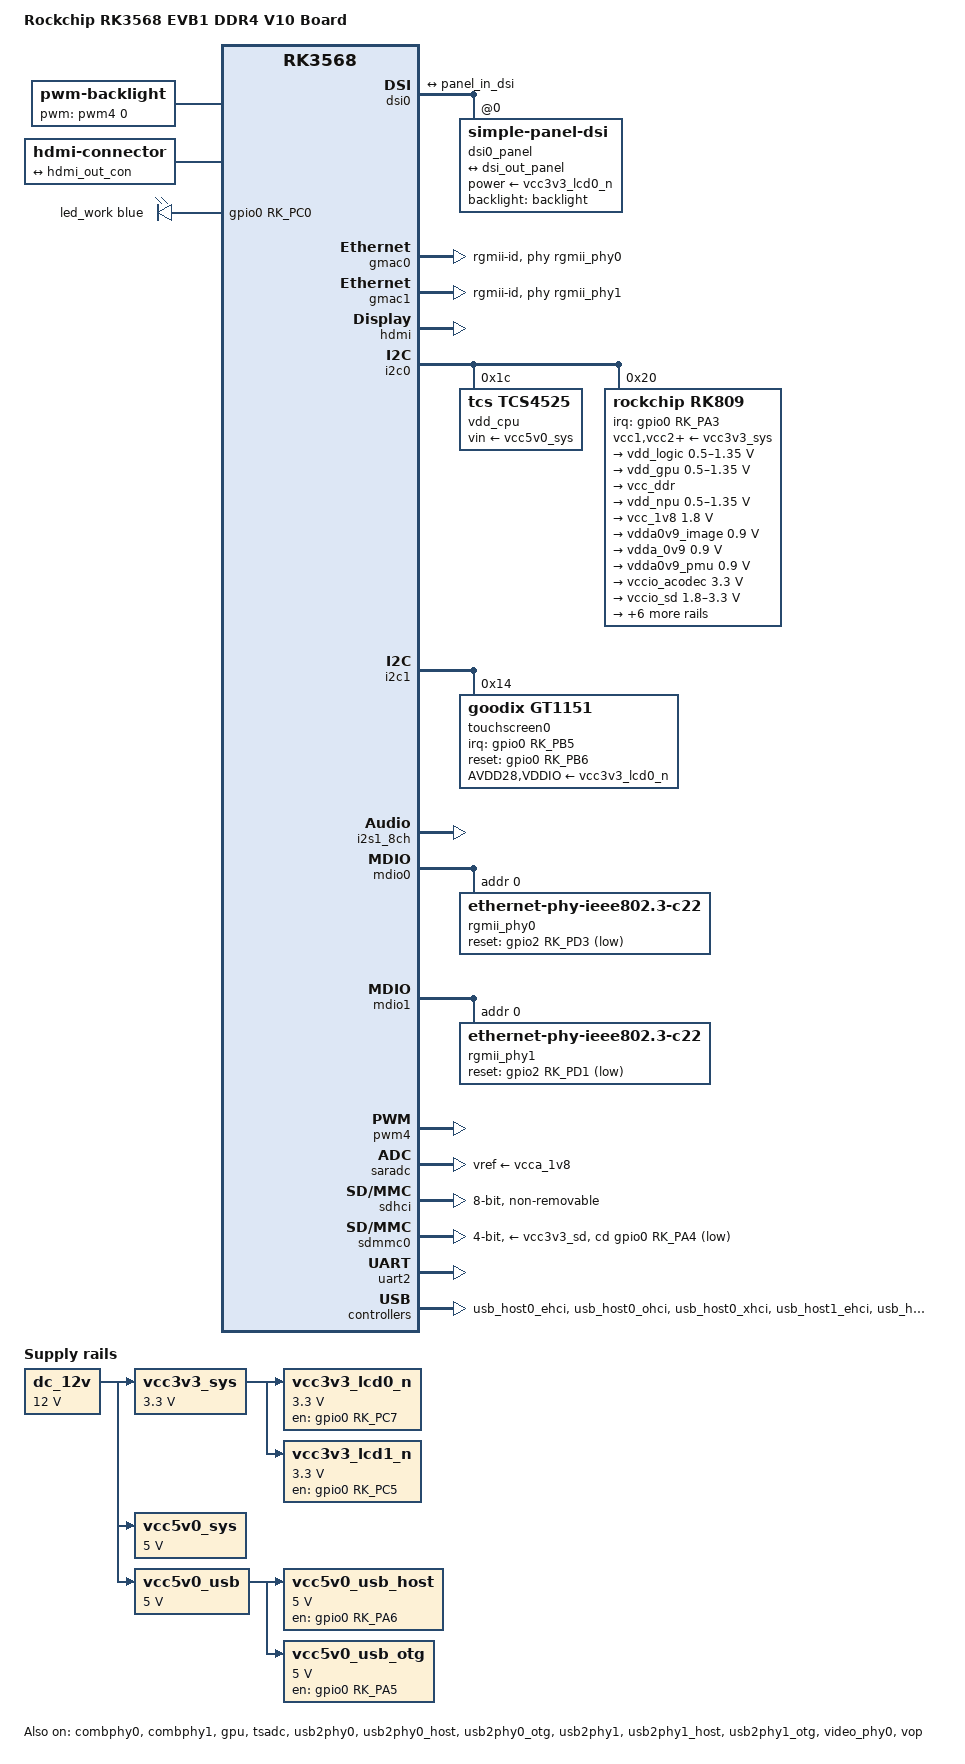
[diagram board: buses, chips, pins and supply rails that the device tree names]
// SPDX-License-Identifier: (GPL-2.0+ OR MIT)
/*
 * Copyright (c) 2021 Rockchip Electronics Co., Ltd.
 *
 */

/dts-v1/;
#include <dt-bindings/gpio/gpio.h>
#include <dt-bindings/leds/common.h>
#include <dt-bindings/pinctrl/rockchip.h>
#include <dt-bindings/soc/rockchip,vop2.h>
#include "rk3568.dtsi"

/ {
	model = "Rockchip RK3568 EVB1 DDR4 V10 Board";
	compatible = "rockchip,rk3568-evb1-v10", "rockchip,rk3568";

	aliases {
		ethernet0 = &gmac0;
		ethernet1 = &gmac1;
		mmc0 = &sdmmc0;
		mmc1 = &sdhci;
	};

	chosen: chosen {
		stdout-path = "serial2:1500000n8";
	};

	backlight: backlight {
		compatible = "pwm-backlight";
		pwms = <&pwm4 0 25000 0>;
		brightness-levels = <
			  0  20  20  21  21  22  22  23
			 23  24  24  25  25  26  26  27
			 27  28  28  29  29  30  30  31
			 31  32  32  33  33  34  34  35
			 35  36  36  37  37  38  38  39
			 40  41  42  43  44  45  46  47
			 48  49  50  51  52  53  54  55
			 56  57  58  59  60  61  62  63
			 64  65  66  67  68  69  70  71
			 72  73  74  75  76  77  78  79
			 80  81  82  83  84  85  86  87
			 88  89  90  91  92  93  94  95
			 96  97  98  99 100 101 102 103
			104 105 106 107 108 109 110 111
			112 113 114 115 116 117 118 119
			120 121 122 123 124 125 126 127
			128 129 130 131 132 133 134 135
			136 137 138 139 140 141 142 143
			144 145 146 147 148 149 150 151
			152 153 154 155 156 157 158 159
			160 161 162 163 164 165 166 167
			168 169 170 171 172 173 174 175
			176 177 178 179 180 181 182 183
			184 185 186 187 188 189 190 191
			192 193 194 195 196 197 198 199
			200 201 202 203 204 205 206 207
			208 209 210 211 212 213 214 215
			216 217 218 219 220 221 222 223
			224 225 226 227 228 229 230 231
			232 233 234 235 236 237 238 239
			240 241 242 243 244 245 246 247
			248 249 250 251 252 253 254 255
		>;
		default-brightness-level = <200>;
	};

	dc_12v: dc-12v {
		compatible = "regulator-fixed";
		regulator-name = "dc_12v";
		regulator-always-on;
		regulator-boot-on;
		regulator-min-microvolt = <12000000>;
		regulator-max-microvolt = <12000000>;
	};

	hdmi-con {
		compatible = "hdmi-connector";
		type = "a";

		port {
			hdmi_con_in: endpoint {
				remote-endpoint = <&hdmi_out_con>;
			};
		};
	};

	leds {
		compatible = "gpio-leds";

		led_work: led-0 {
			gpios = <&gpio0 RK_PC0 GPIO_ACTIVE_HIGH>;
			function = LED_FUNCTION_HEARTBEAT;
			color = <LED_COLOR_ID_BLUE>;
			linux,default-trigger = "heartbeat";
			pinctrl-names = "default";
			pinctrl-0 = <&led_work_en>;
		};
	};

	rk809-sound {
		compatible = "simple-audio-card";
		simple-audio-card,format = "i2s";
		simple-audio-card,name = "Analog RK809";
		simple-audio-card,mclk-fs = <256>;

		simple-audio-card,cpu {
			sound-dai = <&i2s1_8ch>;
		};
		simple-audio-card,codec {
			sound-dai = <&rk809>;
		};
	};

	vcc3v3_sys: vcc3v3-sys {
		compatible = "regulator-fixed";
		regulator-name = "vcc3v3_sys";
		regulator-always-on;
		regulator-boot-on;
		regulator-min-microvolt = <3300000>;
		regulator-max-microvolt = <3300000>;
		vin-supply = <&dc_12v>;
	};

	vcc5v0_sys: vcc5v0-sys {
		compatible = "regulator-fixed";
		regulator-name = "vcc5v0_sys";
		regulator-always-on;
		regulator-boot-on;
		regulator-min-microvolt = <5000000>;
		regulator-max-microvolt = <5000000>;
		vin-supply = <&dc_12v>;
	};

	vcc5v0_usb: vcc5v0-usb {
		compatible = "regulator-fixed";
		regulator-name = "vcc5v0_usb";
		regulator-always-on;
		regulator-boot-on;
		regulator-min-microvolt = <5000000>;
		regulator-max-microvolt = <5000000>;
		vin-supply = <&dc_12v>;
	};

	vcc5v0_usb_host: vcc5v0-usb-host {
		compatible = "regulator-fixed";
		enable-active-high;
		gpio = <&gpio0 RK_PA6 GPIO_ACTIVE_HIGH>;
		pinctrl-names = "default";
		pinctrl-0 = <&vcc5v0_usb_host_en>;
		regulator-name = "vcc5v0_usb_host";
		regulator-min-microvolt = <5000000>;
		regulator-max-microvolt = <5000000>;
		vin-supply = <&vcc5v0_usb>;
	};

	vcc5v0_usb_otg: vcc5v0-usb-otg {
		compatible = "regulator-fixed";
		enable-active-high;
		gpio = <&gpio0 RK_PA5 GPIO_ACTIVE_HIGH>;
		pinctrl-names = "default";
		pinctrl-0 = <&vcc5v0_usb_otg_en>;
		regulator-name = "vcc5v0_usb_otg";
		regulator-min-microvolt = <5000000>;
		regulator-max-microvolt = <5000000>;
		vin-supply = <&vcc5v0_usb>;
	};

	vcc3v3_lcd0_n: vcc3v3-lcd0-n {
		compatible = "regulator-fixed";
		regulator-name = "vcc3v3_lcd0_n";
		regulator-min-microvolt = <3300000>;
		regulator-max-microvolt = <3300000>;
		enable-active-high;
		gpio = <&gpio0 RK_PC7 GPIO_ACTIVE_HIGH>;
		vin-supply = <&vcc3v3_sys>;
		pinctrl-names = "default";
		pinctrl-0 = <&vcc3v3_lcd0_n_pinctrl>;

		regulator-state-mem {
			regulator-off-in-suspend;
		};
	};

	vcc3v3_lcd1_n: vcc3v3-lcd1-n {
		compatible = "regulator-fixed";
		regulator-name = "vcc3v3_lcd1_n";
		regulator-min-microvolt = <3300000>;
		regulator-max-microvolt = <3300000>;
		enable-active-high;
		gpio = <&gpio0 RK_PC5 GPIO_ACTIVE_HIGH>;
		vin-supply = <&vcc3v3_sys>;
		pinctrl-names = "default";
		pinctrl-0 = <&vcc3v3_lcd1_n_pinctrl>;

		regulator-state-mem {
			regulator-off-in-suspend;
		};
	};
};

&combphy0 {
	status = "okay";
};

&combphy1 {
	status = "okay";
};

&cpu0 {
	cpu-supply = <&vdd_cpu>;
};

&cpu1 {
	cpu-supply = <&vdd_cpu>;
};

&cpu2 {
	cpu-supply = <&vdd_cpu>;
};

&cpu3 {
	cpu-supply = <&vdd_cpu>;
};

&dsi0 {
	status = "okay";

	dsi0_panel: panel@0 {
		status = "okay";
		compatible = "simple-panel-dsi";
		reg = <0>;
		power-supply = <&vcc3v3_lcd0_n>;
		backlight = <&backlight>;
		reset-delay-ms = <60>;
		enable-delay-ms = <60>;
		prepare-delay-ms = <60>;
		unprepare-delay-ms = <60>;
		disable-delay-ms = <60>;
/*		dsi,flags = <(MIPI_DSI_MODE_VIDEO | MIPI_DSI_MODE_VIDEO_BURST |
			MIPI_DSI_MODE_LPM | MIPI_DSI_MODE_EOT_PACKET)>;
		dsi,format = <MIPI_DSI_FMT_RGB888>;
		dsi,lanes  = <4>;
		panel-init-sequence = [
			23 00 02 FE 21 23 00 02 04 00 23 00 02 00 64 23 00 02 2A 00
			23 00 02 26 64 23 00 02 54 00 23 00 02 50 64 23 00 02 7B 00
			23 00 02 77 64 23 00 02 A2 00 23 00 02 9D 64 23 00 02 C9 00
			23 00 02 C5 64 23 00 02 01 71 23 00 02 27 71 23 00 02 51 71
			23 00 02 78 71 23 00 02 9E 71 23 00 02 C6 71 23 00 02 02 89
			23 00 02 28 89 23 00 02 52 89 23 00 02 79 89 23 00 02 9F 89
			23 00 02 C7 89 23 00 02 03 9E 23 00 02 29 9E 23 00 02 53 9E
			23 00 02 7A 9E 23 00 02 A0 9E 23 00 02 C8 9E 23 00 02 09 00
			23 00 02 05 B0 23 00 02 31 00 23 00 02 2B B0 23 00 02 5A 00
			23 00 02 55 B0 23 00 02 80 00 23 00 02 7C B0 23 00 02 A7 00
			23 00 02 A3 B0 23 00 02 CE 00 23 00 02 CA B0 23 00 02 06 C0
			23 00 02 2D C0 23 00 02 56 C0 23 00 02 7D C0 23 00 02 A4 C0
			23 00 02 CB C0 23 00 02 07 CF 23 00 02 2F CF 23 00 02 58 CF
			23 00 02 7E CF 23 00 02 A5 CF 23 00 02 CC CF 23 00 02 08 DD
			23 00 02 30 DD 23 00 02 59 DD 23 00 02 7F DD 23 00 02 A6 DD
			23 00 02 CD DD 23 00 02 0E 15 23 00 02 0A E9 23 00 02 36 15
			23 00 02 32 E9 23 00 02 5F 15 23 00 02 5B E9 23 00 02 85 15
			23 00 02 81 E9 23 00 02 AD 15 23 00 02 A9 E9 23 00 02 D3 15
			23 00 02 CF E9 23 00 02 0B 14 23 00 02 33 14 23 00 02 5C 14
			23 00 02 82 14 23 00 02 AA 14 23 00 02 D0 14 23 00 02 0C 36
			23 00 02 34 36 23 00 02 5D 36 23 00 02 83 36 23 00 02 AB 36
			23 00 02 D1 36 23 00 02 0D 6B 23 00 02 35 6B 23 00 02 5E 6B
			23 00 02 84 6B 23 00 02 AC 6B 23 00 02 D2 6B 23 00 02 13 5A
			23 00 02 0F 94 23 00 02 3B 5A 23 00 02 37 94 23 00 02 64 5A
			23 00 02 60 94 23 00 02 8A 5A 23 00 02 86 94 23 00 02 B2 5A
			23 00 02 AE 94 23 00 02 D8 5A 23 00 02 D4 94 23 00 02 10 D1
			23 00 02 38 D1 23 00 02 61 D1 23 00 02 87 D1 23 00 02 AF D1
			23 00 02 D5 D1 23 00 02 11 04 23 00 02 39 04 23 00 02 62 04
			23 00 02 88 04 23 00 02 B0 04 23 00 02 D6 04 23 00 02 12 05
			23 00 02 3A 05 23 00 02 63 05 23 00 02 89 05 23 00 02 B1 05
			23 00 02 D7 05 23 00 02 18 AA 23 00 02 14 36 23 00 02 42 AA
			23 00 02 3D 36 23 00 02 69 AA 23 00 02 65 36 23 00 02 8F AA
			23 00 02 8B 36 23 00 02 B7 AA 23 00 02 B3 36 23 00 02 DD AA
			23 00 02 D9 36 23 00 02 15 74 23 00 02 3F 74 23 00 02 66 74
			23 00 02 8C 74 23 00 02 B4 74 23 00 02 DA 74 23 00 02 16 9F
			23 00 02 40 9F 23 00 02 67 9F 23 00 02 8D 9F 23 00 02 B5 9F
			23 00 02 DB 9F 23 00 02 17 DC 23 00 02 41 DC 23 00 02 68 DC
			23 00 02 8E DC 23 00 02 B6 DC 23 00 02 DC DC 23 00 02 1D FF
			23 00 02 19 03 23 00 02 47 FF 23 00 02 43 03 23 00 02 6E FF
			23 00 02 6A 03 23 00 02 94 FF 23 00 02 90 03 23 00 02 BC FF
			23 00 02 B8 03 23 00 02 E2 FF 23 00 02 DE 03 23 00 02 1A 35
			23 00 02 44 35 23 00 02 6B 35 23 00 02 91 35 23 00 02 B9 35
			23 00 02 DF 35 23 00 02 1B 45 23 00 02 45 45 23 00 02 6C 45
			23 00 02 92 45 23 00 02 BA 45 23 00 02 E0 45 23 00 02 1C 55
			23 00 02 46 55 23 00 02 6D 55 23 00 02 93 55 23 00 02 BB 55
			23 00 02 E1 55 23 00 02 22 FF 23 00 02 1E 68 23 00 02 4C FF
			23 00 02 48 68 23 00 02 73 FF 23 00 02 6F 68 23 00 02 99 FF
			23 00 02 95 68 23 00 02 C1 FF 23 00 02 BD 68 23 00 02 E7 FF
			23 00 02 E3 68 23 00 02 1F 7E 23 00 02 49 7E 23 00 02 70 7E
			23 00 02 96 7E 23 00 02 BE 7E 23 00 02 E4 7E 23 00 02 20 97
			23 00 02 4A 97 23 00 02 71 97 23 00 02 97 97 23 00 02 BF 97
			23 00 02 E5 97 23 00 02 21 B5 23 00 02 4B B5 23 00 02 72 B5
			23 00 02 98 B5 23 00 02 C0 B5 23 00 02 E6 B5 23 00 02 25 F0
			23 00 02 23 E8 23 00 02 4F F0 23 00 02 4D E8 23 00 02 76 F0
			23 00 02 74 E8 23 00 02 9C F0 23 00 02 9A E8 23 00 02 C4 F0
			23 00 02 C2 E8 23 00 02 EA F0 23 00 02 E8 E8 23 00 02 24 FF
			23 00 02 4E FF 23 00 02 75 FF 23 00 02 9B FF 23 00 02 C3 FF
			23 00 02 E9 FF 23 00 02 FE 3D 23 00 02 00 04 23 00 02 FE 23
			23 00 02 08 82 23 00 02 0A 00 23 00 02 0B 00 23 00 02 0C 01
			23 00 02 16 00 23 00 02 18 02 23 00 02 1B 04 23 00 02 19 04
			23 00 02 1C 81 23 00 02 1F 00 23 00 02 20 03 23 00 02 23 04
			23 00 02 21 01 23 00 02 54 63 23 00 02 55 54 23 00 02 6E 45
			23 00 02 6D 36 23 00 02 FE 3D 23 00 02 55 78 23 00 02 FE 20
			23 00 02 26 30 23 00 02 FE 3D 23 00 02 20 71 23 00 02 50 8F
			23 00 02 51 8F 23 00 02 FE 00 23 00 02 35 00 05 78 01 11
			05 1E 01 29
		];

		panel-exit-sequence = [
			05 00 01 28
			05 00 01 10
		];

		disp_timings0: display-timings {
			native-mode = <&dsi0_timing0>;
			dsi0_timing0: timing0 {
				clock-frequency = <132000000>;
				hactive = <1080>;
				vactive = <1920>;
				hfront-porch = <15>;
				hsync-len = <2>;
				hback-porch = <30>;
				vfront-porch = <15>;
				vsync-len = <2>;
				vback-porch = <15>;
				hsync-active = <0>;
				vsync-active = <0>;
				de-active = <0>;
				pixelclk-active = <1>;
			};
		};*/

		ports {
			#address-cells = <1>;
			#size-cells = <0>;

			port@0 {
				reg = <0>;
				panel_in_dsi: endpoint {
					remote-endpoint = <&dsi_out_panel>;
				};
			};
		};
	};

	ports {
		port@1 {
			reg = <1>;
			dsi_out_panel: endpoint {
				remote-endpoint = <&panel_in_dsi>;
			};
		};
	};
};

&gmac0 {
	assigned-clocks = <&cru SCLK_GMAC0_RX_TX>, <&cru SCLK_GMAC0>;
	assigned-clock-parents = <&cru SCLK_GMAC0_RGMII_SPEED>;
	assigned-clock-rates = <0>, <125000000>;
	clock_in_out = "output";
	phy-handle = <&rgmii_phy0>;
	phy-mode = "rgmii-id";
	pinctrl-names = "default";
	pinctrl-0 = <&gmac0_miim
		     &gmac0_tx_bus2
		     &gmac0_rx_bus2
		     &gmac0_rgmii_clk
		     &gmac0_rgmii_bus>;
	status = "okay";
};

&gmac1 {
	assigned-clocks = <&cru SCLK_GMAC1_RX_TX>, <&cru SCLK_GMAC1>;
	assigned-clock-parents = <&cru SCLK_GMAC1_RGMII_SPEED>;
	assigned-clock-rates = <0>, <125000000>;
	clock_in_out = "output";
	phy-handle = <&rgmii_phy1>;
	phy-mode = "rgmii-id";
	pinctrl-names = "default";
	pinctrl-0 = <&gmac1m1_miim
		     &gmac1m1_tx_bus2
		     &gmac1m1_rx_bus2
		     &gmac1m1_rgmii_clk
		     &gmac1m1_rgmii_bus>;
	status = "okay";
};

&gpu {
	mali-supply = <&vdd_gpu>;
	status = "okay";
};

&hdmi {
	avdd-0v9-supply = <&vdda0v9_image>;
	avdd-1v8-supply = <&vcca1v8_image>;
	status = "okay";
};

&hdmi_in {
	hdmi_in_vp0: endpoint {
		remote-endpoint = <&vp0_out_hdmi>;
	};
};

&hdmi_out {
	hdmi_out_con: endpoint {
		remote-endpoint = <&hdmi_con_in>;
	};
};

&i2c0 {
	status = "okay";

	vdd_cpu: regulator@1c {
		compatible = "tcs,tcs4525";
		reg = <0x1c>;
		fcs,suspend-voltage-selector = <1>;
		regulator-name = "vdd_cpu";
		regulator-always-on;
		regulator-boot-on;
		regulator-min-microvolt = <800000>;
		regulator-max-microvolt = <1150000>;
		regulator-ramp-delay = <2300>;
		vin-supply = <&vcc5v0_sys>;

		regulator-state-mem {
			regulator-off-in-suspend;
		};
	};

	rk809: pmic@20 {
		compatible = "rockchip,rk809";
		reg = <0x20>;
		interrupt-parent = <&gpio0>;
		interrupts = <RK_PA3 IRQ_TYPE_LEVEL_LOW>;
		assigned-clocks = <&cru I2S1_MCLKOUT_TX>;
		assigned-clock-parents = <&cru CLK_I2S1_8CH_TX>;
		#clock-cells = <1>;
		clock-names = "mclk";
		clocks = <&cru I2S1_MCLKOUT_TX>;
		pinctrl-names = "default";
		pinctrl-0 = <&pmic_int>, <&i2s1m0_mclk>;
		rockchip,system-power-controller;
		#sound-dai-cells = <0>;
		vcc1-supply = <&vcc3v3_sys>;
		vcc2-supply = <&vcc3v3_sys>;
		vcc3-supply = <&vcc3v3_sys>;
		vcc4-supply = <&vcc3v3_sys>;
		vcc5-supply = <&vcc3v3_sys>;
		vcc6-supply = <&vcc3v3_sys>;
		vcc7-supply = <&vcc3v3_sys>;
		vcc8-supply = <&vcc3v3_sys>;
		vcc9-supply = <&vcc3v3_sys>;
		wakeup-source;

		regulators {
			vdd_logic: DCDC_REG1 {
				regulator-name = "vdd_logic";
				regulator-always-on;
				regulator-boot-on;
				regulator-init-microvolt = <900000>;
				regulator-initial-mode = <0x2>;
				regulator-min-microvolt = <500000>;
				regulator-max-microvolt = <1350000>;
				regulator-ramp-delay = <6001>;

				regulator-state-mem {
					regulator-off-in-suspend;
				};
			};

			vdd_gpu: DCDC_REG2 {
				regulator-name = "vdd_gpu";
				regulator-always-on;
				regulator-init-microvolt = <900000>;
				regulator-initial-mode = <0x2>;
				regulator-min-microvolt = <500000>;
				regulator-max-microvolt = <1350000>;
				regulator-ramp-delay = <6001>;

				regulator-state-mem {
					regulator-off-in-suspend;
				};
			};

			vcc_ddr: DCDC_REG3 {
				regulator-name = "vcc_ddr";
				regulator-always-on;
				regulator-boot-on;
				regulator-initial-mode = <0x2>;

				regulator-state-mem {
					regulator-on-in-suspend;
				};
			};

			vdd_npu: DCDC_REG4 {
				regulator-name = "vdd_npu";
				regulator-init-microvolt = <900000>;
				regulator-initial-mode = <0x2>;
				regulator-min-microvolt = <500000>;
				regulator-max-microvolt = <1350000>;
				regulator-ramp-delay = <6001>;

				regulator-state-mem {
					regulator-off-in-suspend;
				};
			};

			vcc_1v8: DCDC_REG5 {
				regulator-name = "vcc_1v8";
				regulator-always-on;
				regulator-boot-on;
				regulator-min-microvolt = <1800000>;
				regulator-max-microvolt = <1800000>;

				regulator-state-mem {
					regulator-off-in-suspend;
				};
			};

			vdda0v9_image: LDO_REG1 {
				regulator-name = "vdda0v9_image";
				regulator-min-microvolt = <900000>;
				regulator-max-microvolt = <900000>;

				regulator-state-mem {
					regulator-off-in-suspend;
				};
			};

			vdda_0v9: LDO_REG2 {
				regulator-name = "vdda_0v9";
				regulator-always-on;
				regulator-boot-on;
				regulator-min-microvolt = <900000>;
				regulator-max-microvolt = <900000>;

				regulator-state-mem {
					regulator-off-in-suspend;
				};
			};

			vdda0v9_pmu: LDO_REG3 {
				regulator-name = "vdda0v9_pmu";
				regulator-always-on;
				regulator-boot-on;
				regulator-min-microvolt = <900000>;
				regulator-max-microvolt = <900000>;

				regulator-state-mem {
					regulator-on-in-suspend;
					regulator-suspend-microvolt = <900000>;
				};
			};

			vccio_acodec: LDO_REG4 {
				regulator-name = "vccio_acodec";
				regulator-always-on;
				regulator-min-microvolt = <3300000>;
				regulator-max-microvolt = <3300000>;

				regulator-state-mem {
					regulator-off-in-suspend;
				};
			};

			vccio_sd: LDO_REG5 {
				regulator-name = "vccio_sd";
				regulator-min-microvolt = <1800000>;
				regulator-max-microvolt = <3300000>;

				regulator-state-mem {
					regulator-off-in-suspend;
				};
			};

			vcc3v3_pmu: LDO_REG6 {
				regulator-name = "vcc3v3_pmu";
				regulator-always-on;
				regulator-boot-on;
				regulator-min-microvolt = <3300000>;
				regulator-max-microvolt = <3300000>;

				regulator-state-mem {
					regulator-on-in-suspend;
					regulator-suspend-microvolt = <3300000>;
				};
			};

			vcca_1v8: LDO_REG7 {
				regulator-name = "vcca_1v8";
				regulator-always-on;
				regulator-boot-on;
				regulator-min-microvolt = <1800000>;
				regulator-max-microvolt = <1800000>;

				regulator-state-mem {
					regulator-off-in-suspend;
				};
			};

			vcca1v8_pmu: LDO_REG8 {
				regulator-name = "vcca1v8_pmu";
				regulator-always-on;
				regulator-boot-on;
				regulator-min-microvolt = <1800000>;
				regulator-max-microvolt = <1800000>;

				regulator-state-mem {
					regulator-on-in-suspend;
					regulator-suspend-microvolt = <1800000>;
				};
			};

			vcca1v8_image: LDO_REG9 {
				regulator-name = "vcca1v8_image";
				regulator-min-microvolt = <1800000>;
				regulator-max-microvolt = <1800000>;

				regulator-state-mem {
					regulator-off-in-suspend;
				};
			};

			vcc_3v3: SWITCH_REG1 {
				regulator-name = "vcc_3v3";
				regulator-always-on;
				regulator-boot-on;

				regulator-state-mem {
					regulator-off-in-suspend;
				};
			};

			vcc3v3_sd: SWITCH_REG2 {
				regulator-name = "vcc3v3_sd";

				regulator-state-mem {
					regulator-off-in-suspend;
				};
			};
		};

		codec {
			mic-in-differential;
		};
	};
};

&i2c1 {
	status = "okay";

	touchscreen0: goodix@14 {
		compatible = "goodix,gt1151";
		reg = <0x14>;
		interrupt-parent = <&gpio0>;
		interrupts = <RK_PB5 IRQ_TYPE_EDGE_FALLING>;
		AVDD28-supply = <&vcc3v3_lcd0_n>;
		irq-gpios = <&gpio0 RK_PB5 GPIO_ACTIVE_HIGH>;
		pinctrl-names = "default";
		pinctrl-0 = <&touch_int &touch_rst>;
		reset-gpios = <&gpio0 RK_PB6 GPIO_ACTIVE_HIGH>;
		VDDIO-supply = <&vcc3v3_lcd0_n>;
	};
};

&i2s1_8ch {
	rockchip,trcm-sync-tx-only;
	status = "okay";
};

&mdio0 {
	rgmii_phy0: ethernet-phy@0 {
		compatible = "ethernet-phy-ieee802.3-c22";
		reg = <0x0>;
		reset-assert-us = <20000>;
		reset-deassert-us = <100000>;
		reset-gpios = <&gpio2 RK_PD3 GPIO_ACTIVE_LOW>;
	};
};

&mdio1 {
	rgmii_phy1: ethernet-phy@0 {
		compatible = "ethernet-phy-ieee802.3-c22";
		reg = <0x0>;
		reset-assert-us = <20000>;
		reset-deassert-us = <100000>;
		reset-gpios = <&gpio2 RK_PD1 GPIO_ACTIVE_LOW>;
	};
};

&pinctrl {
	display {
		vcc3v3_lcd0_n_pinctrl: vcc3v3_lcd0_n_pinctrl {
			rockchip,pins = <0 RK_PC7 0 &pcfg_pull_none>;
		};
		vcc3v3_lcd1_n_pinctrl: vcc3v3_lcd1_n_pinctrl {
			rockchip,pins = <0 RK_PC5 0 &pcfg_pull_none>;
		};
	};

	leds {
		led_work_en: led_work_en {
			rockchip,pins = <0 RK_PC0 RK_FUNC_GPIO &pcfg_pull_none>;
		};
	};

	pmic {
		pmic_int: pmic_int {
			rockchip,pins =
				<0 RK_PA3 RK_FUNC_GPIO &pcfg_pull_up>;
		};
	};

	touchscreen {
		touch_int: touch_int {
			rockchip,pins = <0 RK_PB5 RK_FUNC_GPIO &pcfg_pull_up>;
		};
		touch_rst: touch_rst {
			rockchip,pins = <0 RK_PB6 RK_FUNC_GPIO &pcfg_pull_none>;
		};
	};

	usb {
		vcc5v0_usb_host_en: vcc5v0_usb_host_en {
			rockchip,pins = <0 RK_PA6 RK_FUNC_GPIO &pcfg_pull_none>;
		};
		vcc5v0_usb_otg_en: vcc5v0_usb_otg_en {
			rockchip,pins = <0 RK_PA5 RK_FUNC_GPIO &pcfg_pull_none>;
		};
	};
};

&pmu_io_domains {
	pmuio1-supply = <&vcc3v3_pmu>;
	pmuio2-supply = <&vcc3v3_pmu>;
	vccio1-supply = <&vccio_acodec>;
	vccio2-supply = <&vcc_1v8>;
	vccio3-supply = <&vccio_sd>;
	vccio4-supply = <&vcc_1v8>;
	vccio5-supply = <&vcc_3v3>;
	vccio6-supply = <&vcc_1v8>;
	vccio7-supply = <&vcc_3v3>;
	status = "okay";
};

&pwm4 {
	status = "okay";
};

&saradc {
	vref-supply = <&vcca_1v8>;
	status = "okay";
};

&sdhci {
	bus-width = <8>;
	max-frequency = <200000000>;
	non-removable;
	pinctrl-names = "default";
	pinctrl-0 = <&emmc_bus8 &emmc_clk &emmc_cmd &emmc_datastrobe>;
	status = "okay";
};

&sdmmc0 {
	bus-width = <4>;
	cap-sd-highspeed;
	cd-gpios = <&gpio0 RK_PA4 GPIO_ACTIVE_LOW>;
	disable-wp;
	pinctrl-names = "default";
	pinctrl-0 = <&sdmmc0_bus4 &sdmmc0_clk &sdmmc0_cmd &sdmmc0_det>;
	sd-uhs-sdr104;
	vmmc-supply = <&vcc3v3_sd>;
	vqmmc-supply = <&vccio_sd>;
	status = "okay";
};

&tsadc {
	rockchip,hw-tshut-mode = <1>;
	rockchip,hw-tshut-polarity = <0>;
	status = "okay";
};

&uart2 {
	status = "okay";
};

&usb_host0_ehci {
	status = "okay";
};

&usb_host0_ohci {
	status = "okay";
};

&usb_host0_xhci {
	extcon = <&usb2phy0>;
	status = "okay";
};

&usb_host1_ehci {
	status = "okay";
};

&usb_host1_ohci {
	status = "okay";
};

&usb_host1_xhci {
	status = "okay";
};

&usb2phy0 {
	status = "okay";
};

&usb2phy0_host {
	phy-supply = <&vcc5v0_usb_host>;
	status = "okay";
};

&usb2phy0_otg {
	vbus-supply = <&vcc5v0_usb_otg>;
	status = "okay";
};

&usb2phy1 {
	status = "okay";
};

&usb2phy1_host {
	phy-supply = <&vcc5v0_usb_host>;
	status = "okay";
};

&usb2phy1_otg {
	phy-supply = <&vcc5v0_usb_host>;
	status = "okay";
};

&video_phy0 {
	status = "okay";
};

&vop {
	assigned-clocks = <&cru DCLK_VOP0>, <&cru DCLK_VOP1>;
	assigned-clock-parents = <&pmucru PLL_HPLL>, <&cru PLL_VPLL>;
	status = "okay";
};

&vop_mmu {
	status = "okay";
};

&vp0 {
	vp0_out_hdmi: endpoint@ROCKCHIP_VOP2_EP_HDMI0 {
		reg = <ROCKCHIP_VOP2_EP_HDMI0>;
		remote-endpoint = <&hdmi_in_vp0>;
	};
};

&dsi0_in {
	dsi0_in_vp1: endpoint@0 {
		reg = <0>;
		remote-endpoint = <&vp1_out_dsi0>;
	};
};

&vp1 {
	vp1_out_dsi0: endpoint@ROCKCHIP_VOP2_EP_MIPI0 {
		reg = <ROCKCHIP_VOP2_EP_MIPI0>;
		remote-endpoint = <&dsi0_in_vp1>;
	};
};
